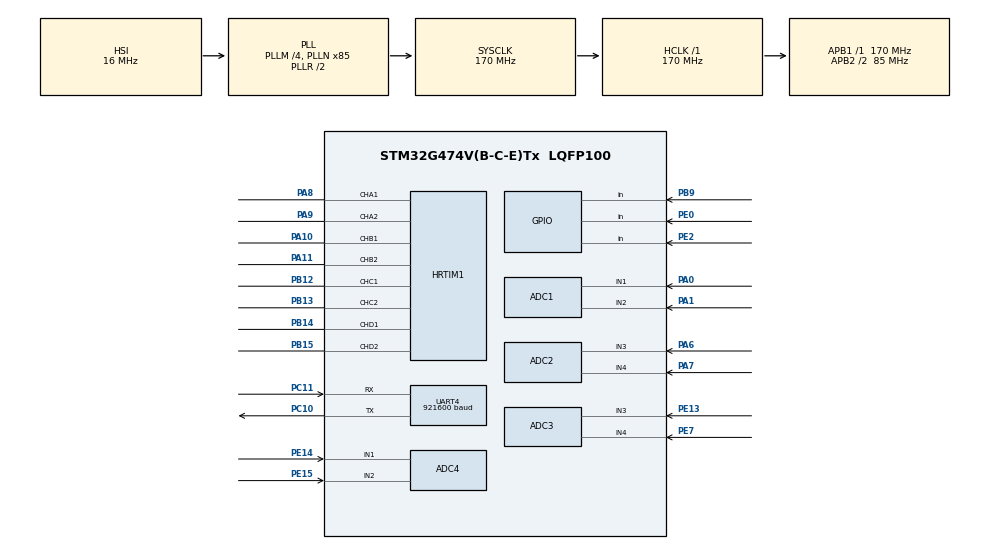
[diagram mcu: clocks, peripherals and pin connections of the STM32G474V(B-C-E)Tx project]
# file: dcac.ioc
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ADC1.Channel-0\#ChannelRegularConversion=ADC_CHANNEL_1
ADC1.ClockPrescaler=ADC_CLOCK_SYNC_PCLK_DIV4
ADC1.DMAAccessModeView=ENABLE
ADC1.DMAContinuousRequests=ENABLE
ADC1.ExternalTrigConv=ADC_EXTERNALTRIG_HRTIM_TRG1
ADC1.ExternalTrigConvEdge=ADC_EXTERNALTRIGCONVEDGE_FALLING
ADC1.Mode=ADC_DUALMODE_REGSIMULT
ADC1.NbrOfConversion=1
ADC1.NbrOfConversionFlag=1
ADC1.OffsetNumber-0\#ChannelRegularConversion=ADC_OFFSET_NONE
ADC1.Overrun=ADC_OVR_DATA_OVERWRITTEN
ADC1.Rank-0\#ChannelRegularConversion=1
ADC1.SamplingTime-0\#ChannelRegularConversion=ADC_SAMPLETIME_2CYCLES_5
ADC1.SingleDiff-0\#ChannelRegularConversion=ADC_DIFFERENTIAL_ENDED
ADC1.master=1
ADC2.Channel-0\#ChannelRegularConversion=ADC_CHANNEL_3
ADC2.ClockPrescaler=ADC_CLOCK_SYNC_PCLK_DIV4
ADC2.DMAAccessModeView=ENABLE
ADC2.Mode=ADC_DUALMODE_REGSIMULT
ADC2.NbrOfConversionFlag=1
ADC2.OffsetNumber-0\#ChannelRegularConversion=ADC_OFFSET_NONE
ADC2.Overrun=ADC_OVR_DATA_OVERWRITTEN
ADC2.Rank-0\#ChannelRegularConversion=1
ADC2.SamplingTime-0\#ChannelRegularConversion=ADC_SAMPLETIME_2CYCLES_5
ADC2.SingleDiff-0\#ChannelRegularConversion=ADC_DIFFERENTIAL_ENDED
ADC3.Channel-0\#ChannelRegularConversion=ADC_CHANNEL_3
ADC3.ClockPrescaler=ADC_CLOCK_SYNC_PCLK_DIV4
ADC3.DMAAccessModeView=ENABLE
ADC3.DMAContinuousRequests=ENABLE
ADC3.ExternalTrigConv=ADC_EXTERNALTRIG_HRTIM_TRG1
ADC3.ExternalTrigConvEdge=ADC_EXTERNALTRIGCONVEDGE_FALLING
ADC3.Mode=ADC_DUALMODE_REGSIMULT
ADC3.NbrOfConversion=1
ADC3.NbrOfConversionFlag=1
ADC3.OffsetNumber-0\#ChannelRegularConversion=ADC_OFFSET_NONE
ADC3.Overrun=ADC_OVR_DATA_OVERWRITTEN
ADC3.Rank-0\#ChannelRegularConversion=1
ADC3.SamplingTime-0\#ChannelRegularConversion=ADC_SAMPLETIME_2CYCLES_5
ADC3.SingleDiff-0\#ChannelRegularConversion=ADC_DIFFERENTIAL_ENDED
ADC3.master=1
ADC4.Channel-0\#ChannelRegularConversion=ADC_CHANNEL_1
ADC4.ClockPrescaler=ADC_CLOCK_SYNC_PCLK_DIV4
ADC4.DMAAccessModeView=ENABLE
ADC4.Mode=ADC_DUALMODE_REGSIMULT
ADC4.NbrOfConversionFlag=1
ADC4.OffsetNumber-0\#ChannelRegularConversion=ADC_OFFSET_NONE
ADC4.Overrun=ADC_OVR_DATA_OVERWRITTEN
ADC4.Rank-0\#ChannelRegularConversion=1
ADC4.SamplingTime-0\#ChannelRegularConversion=ADC_SAMPLETIME_2CYCLES_5
ADC4.SingleDiff-0\#ChannelRegularConversion=ADC_DIFFERENTIAL_ENDED
Dma.ADC1.0.Direction=DMA_PERIPH_TO_MEMORY
Dma.ADC1.0.EventEnable=DISABLE
Dma.ADC1.0.Instance=DMA1_Channel1
Dma.ADC1.0.MemDataAlignment=DMA_MDATAALIGN_WORD
Dma.ADC1.0.MemInc=DMA_MINC_ENABLE
Dma.ADC1.0.Mode=DMA_CIRCULAR
Dma.ADC1.0.PeriphDataAlignment=DMA_PDATAALIGN_WORD
Dma.ADC1.0.PeriphInc=DMA_PINC_DISABLE
Dma.ADC1.0.Polarity=HAL_DMAMUX_REQ_GEN_RISING
Dma.ADC1.0.Priority=DMA_PRIORITY_LOW
Dma.ADC1.0.RequestNumber=1
Dma.ADC1.0.SignalID=NONE
Dma.ADC1.0.SyncEnable=DISABLE
Dma.ADC1.0.SyncPolarity=HAL_DMAMUX_SYNC_NO_EVENT
Dma.ADC1.0.SyncRequestNumber=1
Dma.ADC1.0.SyncSignalID=NONE
Dma.ADC3.1.Direction=DMA_PERIPH_TO_MEMORY
Dma.ADC3.1.EventEnable=DISABLE
Dma.ADC3.1.Instance=DMA1_Channel2
Dma.ADC3.1.MemDataAlignment=DMA_MDATAALIGN_WORD
Dma.ADC3.1.MemInc=DMA_MINC_ENABLE
Dma.ADC3.1.Mode=DMA_CIRCULAR
Dma.ADC3.1.PeriphDataAlignment=DMA_PDATAALIGN_WORD
Dma.ADC3.1.PeriphInc=DMA_PINC_DISABLE
Dma.ADC3.1.Polarity=HAL_DMAMUX_REQ_GEN_RISING
Dma.ADC3.1.Priority=DMA_PRIORITY_LOW
Dma.ADC3.1.RequestNumber=1
Dma.ADC3.1.SignalID=NONE
Dma.ADC3.1.SyncEnable=DISABLE
Dma.ADC3.1.SyncPolarity=HAL_DMAMUX_SYNC_NO_EVENT
Dma.ADC3.1.SyncRequestNumber=1
Dma.ADC3.1.SyncSignalID=NONE
Dma.Request0=ADC1
Dma.Request1=ADC3
HRTIM1.ADCTrigger1_Source1=HRTIM_ADCTRIGGEREVENT13_MASTER_PERIOD
HRTIM1.ADCTrigger_Id1=HRTIM_ADCTRIGGER_1
HRTIM1.Adrom_TA=HRTIM_TIM_ADROM_VALLEY
HRTIM1.Adrom_TB=HRTIM_TIM_ADROM_VALLEY
HRTIM1.Adrom_TC=HRTIM_TIM_ADROM_VALLEY
HRTIM1.Adrom_TD=HRTIM_TIM_ADROM_VALLEY
HRTIM1.Bmrom_TA=HRTIM_TIM_BMROM_VALLEY
HRTIM1.Bmrom_TB=HRTIM_TIM_BMROM_VALLEY
HRTIM1.Bmrom_TC=HRTIM_TIM_BMROM_VALLEY
HRTIM1.Bmrom_TD=HRTIM_TIM_BMROM_VALLEY
HRTIM1.CompareUnit1-MasterTimer=__NULL
HRTIM1.CompareUnit1-Output_TA1TA2=HRTIM_COMPAREUNIT_1
HRTIM1.CompareUnit1-Output_TB1TB2=HRTIM_COMPAREUNIT_1
HRTIM1.CompareUnit1-Output_TC1TC2=HRTIM_COMPAREUNIT_1
HRTIM1.CompareUnit1-Output_TD1TD2=HRTIM_COMPAREUNIT_1
HRTIM1.CompareUnit2-Output_TA1TA2=__NULL
HRTIM1.CompareUnit2-Output_TB1TB2=__NULL
HRTIM1.CompareUnit2-Output_TC1TC2=__NULL
HRTIM1.CompareValue1-Output_TA1TA2=2125
HRTIM1.CompareValue1-Output_TB1TB2=2125
HRTIM1.CompareValue1-Output_TC1TC2=2125
HRTIM1.CompareValue1-Output_TD1TD2=2150
HRTIM1.DeadTimeInsertion-Output_TA1TA2=HRTIM_TIMDEADTIMEINSERTION_ENABLED
HRTIM1.DeadTimeInsertion-Output_TB1TB2=HRTIM_TIMDEADTIMEINSERTION_ENABLED
HRTIM1.DeadTimeInsertion-Output_TC1TC2=HRTIM_TIMDEADTIMEINSERTION_ENABLED
HRTIM1.DeadTimeInsertion-Output_TD1TD2=HRTIM_TIMDEADTIMEINSERTION_ENABLED
HRTIM1.FallingValue-Output_TA1TA2=25
HRTIM1.FallingValue-Output_TB1TB2=0
HRTIM1.FallingValue-Output_TC1TC2=25
HRTIM1.FallingValue-Output_TD1TD2=25
HRTIM1.Ferom_TA=HRTIM_TIM_FEROM_VALLEY
HRTIM1.Ferom_TB=HRTIM_TIM_FEROM_VALLEY
HRTIM1.Ferom_TC=HRTIM_TIM_FEROM_VALLEY
HRTIM1.Ferom_TD=HRTIM_TIM_FEROM_VALLEY
HRTIM1.GreaterCMP1_TA=HRTIM_TIMERGTCMP1_EQUAL
HRTIM1.GreaterCMP1_TB=HRTIM_TIMERGTCMP1_EQUAL
HRTIM1.GreaterCMP1_TC=HRTIM_TIMERGTCMP1_EQUAL
HRTIM1.GreaterCMP1_TD=HRTIM_TIMERGTCMP1_EQUAL
HRTIM1.NumberADCTriggerSource1=1
HRTIM1.NumberInterruptRequests-Output_TA1TA2=0
HRTIM1.NumberInterruptRequests_Master-MasterTimer=0
HRTIM1.NumberResetSource1-Output_TA1TA2=1
HRTIM1.NumberResetSource1-Output_TB1TB2=1
HRTIM1.NumberResetSource1-Output_TC1TC2=1
HRTIM1.NumberResetSource1-Output_TD1TD2=1
HRTIM1.NumberResetTrigger-Output_TA1TA2=0
HRTIM1.NumberResetTrigger-Output_TB1TB2=0
HRTIM1.NumberSetSource1-Output_TA1TA2=1
HRTIM1.NumberSetSource1-Output_TB1TB2=1
HRTIM1.NumberSetSource1-Output_TC1TC2=1
HRTIM1.NumberSetSource1-Output_TD1TD2=1
HRTIM1.NumberUpdateTrigger-Output_TA1TA2=0
HRTIM1.NumberUpdateTrigger-Output_TB1TB2=0
HRTIM1.Outrom_TA=HRTIM_TIM_OUTROM_VALLEY
HRTIM1.Outrom_TB=HRTIM_TIM_OUTROM_VALLEY
HRTIM1.Outrom_TC=HRTIM_TIM_OUTROM_VALLEY
HRTIM1.Outrom_TD=HRTIM_TIM_OUTROM_VALLEY
HRTIM1.Periode_MASTER=8500
HRTIM1.Periode_TA=4250
HRTIM1.Periode_TB=4250
HRTIM1.Periode_TC=4250
HRTIM1.Periode_TD=4250
HRTIM1.PreloadEnable-MasterTimer=HRTIM_PRELOAD_ENABLED
HRTIM1.PreloadEnable-Output_TA1TA2=HRTIM_PRELOAD_ENABLED
HRTIM1.PreloadEnable-Output_TB1TB2=HRTIM_PRELOAD_ENABLED
HRTIM1.PreloadEnable-Output_TC1TC2=HRTIM_PRELOAD_ENABLED
HRTIM1.PreloadEnable-Output_TD1TD2=HRTIM_PRELOAD_ENABLED
HRTIM1.PrescalerDead-Output_TA1TA2=HRTIM_TIMDEADTIME_PRESCALERRATIO_DIV1
HRTIM1.PrescalerDead-Output_TB1TB2=HRTIM_TIMDEADTIME_PRESCALERRATIO_DIV1
HRTIM1.PrescalerDead-Output_TC1TC2=HRTIM_TIMDEADTIME_PRESCALERRATIO_DIV1
HRTIM1.PrescalerDead-Output_TD1TD2=HRTIM_TIMDEADTIME_PRESCALERRATIO_DIV1
HRTIM1.PrescalerRatio_MASTER=HRTIM_PRESCALERRATIO_DIV1
HRTIM1.PrescalerRatio_TA=HRTIM_PRESCALERRATIO_DIV1
HRTIM1.PrescalerRatio_TB=HRTIM_PRESCALERRATIO_DIV1
HRTIM1.PrescalerRatio_TC=HRTIM_PRESCALERRATIO_DIV1
HRTIM1.PrescalerRatio_TD=HRTIM_PRESCALERRATIO_DIV1
HRTIM1.RepetitionCounter-MasterTimer=0
HRTIM1.RepetitionUpdate-MasterTimer=HRTIM_UPDATEONREPETITION_ENABLED
HRTIM1.RepetitionUpdate-Output_TA1TA2=HRTIM_UPDATEONREPETITION_ENABLED
HRTIM1.RepetitionUpdate-Output_TB1TB2=HRTIM_UPDATEONREPETITION_ENABLED
HRTIM1.RepetitionUpdate-Output_TC1TC2=HRTIM_UPDATEONREPETITION_ENABLED
HRTIM1.RepetitionUpdate-Output_TD1TD2=HRTIM_UPDATEONREPETITION_ENABLED
HRTIM1.ResetOutput1_Source1-Output_TA1TA2=HRTIM_OUTPUTRESET_TIMCMP1
HRTIM1.ResetOutput1_Source1-Output_TB1TB2=HRTIM_OUTPUTRESET_TIMCMP1
HRTIM1.ResetOutput1_Source1-Output_TC1TC2=HRTIM_OUTPUTRESET_TIMCMP1
HRTIM1.ResetOutput1_Source1-Output_TD1TD2=HRTIM_OUTPUTRESET_TIMCMP1
HRTIM1.ResetUpdate-Output_TA1TA2=HRTIM_TIMUPDATEONRESET_DISABLED
HRTIM1.ResetUpdate-Output_TB1TB2=HRTIM_TIMUPDATEONRESET_DISABLED
HRTIM1.RisingValue-Output_TA1TA2=0
HRTIM1.RisingValue-Output_TB1TB2=0
HRTIM1.RisingValue-Output_TC1TC2=25
HRTIM1.RisingValue-Output_TD1TD2=25
HRTIM1.SetOutput1_Source1-Output_TA1TA2=HRTIM_OUTPUTSET_NONE
HRTIM1.SetOutput1_Source1-Output_TB1TB2=HRTIM_OUTPUTSET_NONE
HRTIM1.UpDownMode-Output_TA1TA2=HRTIM_TIMERUPDOWNMODE_UPDOWN
HRTIM1.UpDownMode-Output_TB1TB2=HRTIM_TIMERUPDOWNMODE_UPDOWN
HRTIM1.UpDownMode-Output_TC1TC2=HRTIM_TIMERUPDOWNMODE_UPDOWN
HRTIM1.UpDownMode-Output_TD1TD2=HRTIM_TIMERUPDOWNMODE_UPDOWN
HRTIM1.rom_TA=HRTIM_TIM_ROM_VALLEY
HRTIM1.rom_TB=HRTIM_TIM_ROM_VALLEY
HRTIM1.rom_TC=HRTIM_TIM_ROM_VALLEY
HRTIM1.rom_TD=HRTIM_TIM_ROM_VALLEY
Mcu.Family=STM32G4
Mcu.Name=STM32G474V(B-C-E)Tx
Mcu.Package=LQFP100
NVIC.ADC1_2_IRQn=true\:0\:0\:false\:false\:true\:false\:true\:true
NVIC.ADC3_IRQn=true\:0\:0\:false\:false\:true\:false\:true\:true
NVIC.ADC4_IRQn=true\:0\:0\:false\:false\:true\:false\:true\:true
NVIC.DMA1_Channel1_IRQn=true\:0\:0\:false\:false\:true\:false\:true\:true
NVIC.DMA1_Channel2_IRQn=true\:0\:0\:false\:false\:true\:false\:true\:true
NVIC.PriorityGroup=NVIC_PRIORITYGROUP_4
PA0.Mode=IN1-Differential
PA0.Signal=ADC1_IN1
PA1.Mode=IN1-Differential
PA1.Signal=ADC1_IN2
PA10.Mode=Output_TB1TB2
PA10.Signal=HRTIM1_CHB1
PA11.Mode=Output_TB1TB2
PA11.Signal=HRTIM1_CHB2
PA13.Mode=Serial_Wire
PA13.Signal=SYS_JTMS-SWDIO
PA14.Mode=Serial_Wire
PA14.Signal=SYS_JTCK-SWCLK
PA6.Mode=IN3-Differential
PA6.Signal=ADC2_IN3
PA7.Mode=IN3-Differential
PA7.Signal=ADC2_IN4
PA8.Mode=Output_TA1TA2
PA8.Signal=HRTIM1_CHA1
PA9.Mode=Output_TA1TA2
PA9.Signal=HRTIM1_CHA2
PB12.Mode=Output_TC1TC2
PB12.Signal=HRTIM1_CHC1
PB13.Mode=Output_TC1TC2
PB13.Signal=HRTIM1_CHC2
PB14.Mode=Output_TD1TD2
PB14.Signal=HRTIM1_CHD1
PB15.Mode=Output_TD1TD2
PB15.Signal=HRTIM1_CHD2
PB9.GPIO_PuPd=GPIO_PULLUP
PB9.Signal=GPIO_Input
PC10.Mode=Asynchronous
PC10.Signal=UART4_TX
PC11.Mode=Asynchronous
PC11.Signal=UART4_RX
PE0.GPIO_PuPd=GPIO_PULLUP
PE0.Signal=GPIO_Input
PE13.Mode=IN3-Differential
PE13.Signal=ADC3_IN3
PE14.Mode=IN1-Differential
PE14.Signal=ADC4_IN1
PE15.Mode=IN1-Differential
PE15.Signal=ADC4_IN2
PE2.GPIO_PuPd=GPIO_PULLUP
PE2.Signal=GPIO_Input
PE7.Mode=IN3-Differential
PE7.Signal=ADC3_IN4
PF0-OSC_IN.Mode=HSE-External-Oscillator
PF0-OSC_IN.Signal=RCC_OSC_IN
PF1-OSC_OUT.Mode=HSE-External-Oscillator
PF1-OSC_OUT.Signal=RCC_OSC_OUT
ProjectManager.HeapSize=0x200
ProjectManager.StackSize=0x400
ProjectManager.TargetToolchain=MDK-ARM V5.32
RCC.ADC12Freq_Value=170000000
RCC.ADC345Freq_Value=170000000
RCC.AHBFreq_Value=170000000
RCC.APB1Freq_Value=170000000
RCC.APB1TimFreq_Value=170000000
RCC.APB2CLKDivider=RCC_HCLK_DIV2
RCC.APB2Freq_Value=85000000
RCC.APB2TimFreq_Value=170000000
RCC.CortexFreq_Value=170000000
RCC.EXTERNAL_CLOCK_VALUE=12288000
RCC.HCLKFreq_Value=170000000
RCC.HSE_VALUE=25000000
RCC.HSI48_VALUE=48000000
RCC.HSI_VALUE=16000000
RCC.LSE_VALUE=32768
RCC.PLLM=RCC_PLLM_DIV4
RCC.PLLN=85
RCC.PWR_Regulator_Voltage_Scale=PWR_REGULATOR_VOLTAGE_SCALE1_BOOST
RCC.SYSCLKFreq_VALUE=170000000
RCC.SYSCLKSource=RCC_SYSCLKSOURCE_PLLCLK
RCC.USBFreq_Value=170000000
RCC.VCOOutputFreq_Value=340000000
STMicroelectronics.X-CUBE-ALGOBUILD.1.5.0.LibraryCcDSPOoLibraryJjDSPOoLibrary=true
UART4.BaudRate=921600
VP_HRTIM1_VS_hrtimMasterTimerNoOutput.Mode=MasterTimer
VP_STMicroelectronics.X-CUBE-ALGOBUILD_VS_DSPOoLibraryJjLibrary_1.5.0_1.5.0.Mode=DSPOoLibraryJjLibrary
VP_SYS_VS_DBSignals.Mode=DisableDeadBatterySignals
VP_SYS_V_VREFBUF.Mode=ExternalMode
board=custom

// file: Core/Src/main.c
/* USER CODE BEGIN Header */
/**
  ******************************************************************************
  * @file           : main.c
  * @brief          : Main program body
  ******************************************************************************
  * @attention
  *
  * Copyright (c) 2026 STMicroelectronics.
  * All rights reserved.
  *
  * This software is licensed under terms that can be found in the LICENSE file
  * in the root directory of this software component.
  * If no LICENSE file comes with this software, it is provided AS-IS.
  *
  ******************************************************************************
  */
/* USER CODE END Header */
#include "main.h"
#include "adc.h"
#include "dma.h"
#include "hrtim.h"
#include "usart.h"
#include "gpio.h"

/* USER CODE BEGIN Includes */
#include "key.h"
#include "arm_math.h"
#include "qpr_control.h"
#include <string.h>
/* USER CODE END Includes */

/* USER CODE BEGIN PD */
/* DIV1 下，比较值避开计数端点；6 tick 是按 RM0440 p918 例值取的保守余量。 */
#define HRTIM_COMPARE_MARGIN_TICKS  6U
#define SPWM_MODULATION_LIMIT      QPR_MODULATION_LIMIT
#define SPWM_OUTPUT_FREQUENCY_HZ    QPR_FREQUENCY_HZ
/* dcac 的差分 ADC、HRTIM 触发与 UART4 配置。 */
#define ADC_DIFF_ZERO_CODE         2048
#define VOFA_OUTPUT_ENABLE         1U
/* 八通道：20 kHz / 10 = 2000 帧/s，50 Hz 正弦每周期 40 个波形点。
 * 36 字节、8N1 占用 720000 bit/s；UART4 和 VOFA 均设置为 921600 baud。
 * CH8 的 RMS 使用全部 20 kHz 样本，每个 50 Hz 周期更新一次。
 */
#define VOFA_SAMPLE_DIV            10U
/* 1: CH1~6 为400点有符号均值；0: CH1~7为瞬时波形。CH8始终为RMS。 */
#define VOFA_MEAN_OUTPUT_ENABLE    0U
#define VOFA_MEAN_SAMPLE_COUNT     400U
#define VOFA_UART_TIMEOUT_MS       5U

#define VOLTAGE_ZERO_CODE (-3)
#define CURRENT_ZERO_CODE (-8)
/* 辅助电流零偏必须单独实测，不能沿用主机通道的标定结果。 */
#define AUX_CURRENT_ZERO_CODE (-15)
/* 母线零偏单位为换算后的 V；24=(24k+24k)/2k。 */
#define DC_BUS_ZERO_CODE (16)
#define DC_BUS_MIN_CONTROL_V 1.0f

#if VOFA_SAMPLE_DIV < 1U
#error "VOFA_SAMPLE_DIV must be at least 1"
#endif
/* USER CODE END PD */

/* USER CODE BEGIN PV */
uint16_t Period;
/* Keil Watch：默认目标峰值约 33.9411 V，对应 24 Vrms；母线由 ADC3 实测。 */
/* 默认主机开环、从机关断；参考幅值保持原工程设定。 */
/* 1：QPR 闭环；0：正弦开环输出，不是停机/关断栅极。 */
volatile uint8_t voltage_closed_loop_enable = 0U;
volatile float voltage_reference_peak_v = QPR_DEFAULT_REFERENCE_PEAK_V;
volatile uint8_t dc_bus_ready;
volatile uint32_t adc_pair_error_count;
static uint8_t adc12_ready, adc34_ready;
volatile float voltage_reference_v;
/* 展开 qpr_control 可查看两环误差、校正电压、限幅次数和故障位。 */
QPR_Control qpr_control;
/* PB9只控制从机，不重新初始化主机。比例定义为iL从/iL主。 */
QPR_Control slave_qpr_control;
volatile uint8_t slave_enable_request = 0U;
volatile uint8_t slave_enabled = 0U;
volatile uint32_t slave_fault_flags;
volatile float slave_current_ratio = 1.0f;
volatile float slave_ratio_applied;
volatile float slave_dc_bus_voltage_v; /* 初始为0，由ADC3采样更新，单位V。 */
volatile float slave_modulation;
volatile uint32_t slave_update_count;
#define SLAVE_OUTPUTS (HRTIM_OUTPUT_TC1 | HRTIM_OUTPUT_TC2 | HRTIM_OUTPUT_TD1 | HRTIM_OUTPUT_TD2)
#define SLAVE_REFERENCE_LIMIT_A 3.0f
#define SLAVE_OVERCURRENT_A 5.0f
#define SLAVE_RATIO_SLEW_PER_S 1.0f
#define SLAVE_FAULT_ADC 1U
#define SLAVE_FAULT_CURRENT 2U
#define SLAVE_FAULT_CONTROL 4U
#define SLAVE_FAULT_TIMING 8U
volatile float modulation_command;
volatile uint32_t spwm_update_count;
float spwm_update_hz;
static float spwm_phase_rad;
static float phase_step_rad;
/* DMA 每次把 ADC1/ADC2 的 CDR 写入同一个 32 位字；仅在回调开头读一次。 */
volatile float vref_voltage = 3.0f;      /* 外部 VREF+，单位 V */
volatile uint32_t adc12_word;
volatile uint16_t adc_voltage_raw;
volatile uint16_t adc_current_raw;
volatile int16_t adc_voltage_code;
volatile int16_t adc_current_code;
volatile float adc_sample_voltage;       /* 电压采样通道的 ADC 差分电压，V */
volatile float adc_sample_current;       /* 电流采样通道的 ADC 差分电压，V，尚未换算为 A */
volatile float true_voltage;             /* 瞬时电压，V */
volatile float true_current;             /* 滤波电感瞬时电流，A（电容分流之前） */
volatile float voltage_gain = 12.8f;       /* 电压采样通道的增益，V/V */
volatile float cksr6_current_gain = 2.400384f;   /* 电流采样通道的增益，A/V */
volatile uint32_t adc_sample_count;      /* ADC1 DMA 完成回调次数 */
/* ADC3/4 CDR：低16位为母线， 高16位为辅助电流。 */
volatile uint32_t adc34_word;
volatile uint16_t adc_bus_voltage_raw;
volatile uint16_t adc_aux_current_raw;
volatile int16_t adc_bus_voltage_code;
volatile int16_t adc_aux_current_code;
volatile float adc_sample_bus_voltage;
volatile float adc_sample_aux_current;   /* 去中点、减零偏后的ADC差分电压，V */
volatile float dc_bus_voltage_v; /* 本拍实测母线电压，V */
volatile float true_aux_current;         /* 辅助逆变器电感瞬时电流，A */
/* 暂按与主机相同的CKSR6链路换算，实际比例/极性需独立标定。 */
volatile float dc_bus_voltage_gain = 24.18717f;
volatile float aux_current_gain = 2.400384f;
volatile uint32_t adc4_sample_count;
volatile uint32_t adc4_error_count;

#if VOFA_OUTPUT_ENABLE
/* 单槽邮箱：CH1~7保留原定义；CH8为最近一个完整周期的电压RMS。 */
volatile float vofa_ch1;
volatile float vofa_ch2;
volatile float vofa_ch3;
volatile float vofa_ch4;
volatile float vofa_ch5;
volatile float vofa_ch6;
volatile float vofa_ch7;
volatile float vofa_ch8;
/* 仅用于观测，不反馈给QPR。这里的RMS是采样带宽内的有效值。
 * RMS=sqrt(sum(u[k]^2)/N)，保留采样信号的直流分量及谐波。
 * AC_RMS=sqrt(RMS^2-mean^2)供Watch对照交流档；互感器看不到实际输出DC。
 * 20 kHz/50 Hz时N=400；每拍平方累加，一周期才开方，避免串口抽点偏差。
 */
volatile float output_voltage_rms_v;
volatile float output_voltage_mean_v;
volatile float output_voltage_ac_rms_v;
volatile uint8_t output_voltage_rms_valid; /* 首个完整窗口之前及模式切换后为0。 */
volatile uint32_t output_voltage_rms_window_count;
uint32_t output_voltage_rms_window_samples;
static float voltage_rms_square_sum;
static float voltage_rms_sum;
static float voltage_rms_mean_scale;
static uint32_t voltage_rms_count;
static uint8_t voltage_rms_mode;
/* 均值窗口只由 ADC ISR 访问，单精度累加使用 M4F 硬件浮点。 */
static float vofa_mean_sum[6];
static uint32_t vofa_mean_count;
static uint8_t vofa_mean_mode;
volatile uint32_t vofa_mean_window_count;
volatile uint8_t vofa_frame_ready;
volatile uint32_t adc_sample_div_count;
volatile uint32_t vofa_sent_count;        /* HAL 返回成功的完整帧数 */
volatile uint32_t vofa_tx_error_count;    /* HAL 超时、忙或错误的累计次数 */
volatile uint32_t vofa_overwrite_count;   /* 主循环未取走就被新采样覆盖的帧数 */
static uint8_t vofa_frame[36];  /* 八个 float（32 字节）+ JustFloat 帧尾（4 字节）。 */
typedef char VofaRequires32BitFloat[(sizeof(float) == 4U) ? 1 : -1];
#endif
/* USER CODE END PV */

void SystemClock_Config(void);

/* USER CODE BEGIN 0 */
/*
 * 对应 singlephase/单极倍频调制：
 * dA=(1+m)/2，dB=(1-m)/2。
 * HRTIM 使用 EQUAL + Reset CMP1：上数清零、下数置位，与 TIM1 PWM1 一致。
 * A/B 的 ROM_VALLEY + REP=0 使两路预装载值在每个谷底一起生效。
 */
static void HRTIM_SetModulation(float modulation)
{
    uint32_t compare_a;
    uint32_t compare_b;
    uint32_t maximum = (uint32_t)Period - HRTIM_COMPARE_MARGIN_TICKS;

    if (modulation > SPWM_MODULATION_LIMIT) modulation = SPWM_MODULATION_LIMIT;
    if (modulation < -SPWM_MODULATION_LIMIT) modulation = -SPWM_MODULATION_LIMIT;

    compare_a = (uint32_t)(0.5f * (1.0f + modulation) * (float)Period + 0.5f);
    compare_b = (uint32_t)(0.5f * (1.0f - modulation) * (float)Period + 0.5f);
    if (compare_a < HRTIM_COMPARE_MARGIN_TICKS) compare_a = HRTIM_COMPARE_MARGIN_TICKS;
    if (compare_b < HRTIM_COMPARE_MARGIN_TICKS) compare_b = HRTIM_COMPARE_MARGIN_TICKS;
    if (compare_a > maximum) compare_a = maximum;
    if (compare_b > maximum) compare_b = maximum;

    __HAL_HRTIM_SETCOMPARE(&hhrtim1, HRTIM_TIMERINDEX_TIMER_A, HRTIM_COMPAREUNIT_1, compare_a);
    __HAL_HRTIM_SETCOMPARE(&hhrtim1, HRTIM_TIMERINDEX_TIMER_B, HRTIM_COMPAREUNIT_1, compare_b);
    modulation_command = modulation;
}

/* C/D与A/B相同的单极倍频调制，只有本函数写从机比较值。 */
static void HRTIM_SetSlaveModulation(float modulation)
{
    uint32_t c, d;
    uint32_t maximum = (uint32_t)Period - HRTIM_COMPARE_MARGIN_TICKS;
    if (modulation > SPWM_MODULATION_LIMIT) modulation = SPWM_MODULATION_LIMIT;
    if (modulation < -SPWM_MODULATION_LIMIT) modulation = -SPWM_MODULATION_LIMIT;
    c = (uint32_t)(0.5f * (1.0f + modulation) * Period + 0.5f);
    d = (uint32_t)(0.5f * (1.0f - modulation) * Period + 0.5f);
    if (c < HRTIM_COMPARE_MARGIN_TICKS) c = HRTIM_COMPARE_MARGIN_TICKS;
    if (d < HRTIM_COMPARE_MARGIN_TICKS) d = HRTIM_COMPARE_MARGIN_TICKS;
    if (c > maximum) c = maximum;
    if (d > maximum) d = maximum;
    __HAL_HRTIM_SETCOMPARE(&hhrtim1, HRTIM_TIMERINDEX_TIMER_C, HRTIM_COMPAREUNIT_1, c);
    __HAL_HRTIM_SETCOMPARE(&hhrtim1, HRTIM_TIMERINDEX_TIMER_D, HRTIM_COMPAREUNIT_1, d);
    slave_modulation = modulation;
}

/* 关断是禁用四个栅极PWM，不是m=0的50%发波；不操作A/B。 */
static void Slave_Stop(uint32_t fault)
{
    HRTIM1->sCommonRegs.ODISR = SLAVE_OUTPUTS;
    slave_enabled = 0U;
    slave_enable_request = 0U;
    slave_fault_flags |= fault;
    slave_modulation = 0.0f;
}

/* 两组样本配齐并完成主机控制后执行；故障锁存后重启才能再接入。 */
static void Slave_ControlUpdate(void)
{
    float reference, modulation, ratio, master_current, output_voltage;
    uint32_t primask, sample_sequence;
    if ((voltage_closed_loop_enable == 0U) || (slave_enable_request == 0U))
    {
        Slave_Stop(0U);
        return;
    }
    if (slave_fault_flags != 0U) { Slave_Stop(0U); return; }
    /* 两组从同一触发启动；只有ADC1已发布本拍反馈才运行从机。 */
    primask = __get_PRIMASK();
    __disable_irq();
    sample_sequence = adc_sample_count;
    master_current = true_current;
    output_voltage = true_voltage;
    __set_PRIMASK(primask);
    if (sample_sequence != adc4_sample_count)
    {
        Slave_Stop(SLAVE_FAULT_TIMING);
        return;
    }
    if ((true_aux_current > SLAVE_OVERCURRENT_A) ||
        (true_aux_current < -SLAVE_OVERCURRENT_A))
    {
        Slave_Stop(SLAVE_FAULT_CURRENT);
        return;
    }
    ratio = slave_current_ratio;
    if (!(ratio >= 0.0f && ratio <= 2.0f))
    {
        Slave_Stop(SLAVE_FAULT_CONTROL);
        return;
    }
    if (slave_enabled == 0U)
    {
        /* 在参考电压过零附近接入，避免任意相位直接开启第一脉冲。 */
        if (!(voltage_reference_v >= -2.0f && voltage_reference_v <= 2.0f)) return;
        QPR_ControlReset(&slave_qpr_control);
        slave_ratio_applied = 0.0f;
    }
    if (slave_ratio_applied < ratio)
    {
        slave_ratio_applied += SLAVE_RATIO_SLEW_PER_S * slave_qpr_control.sample_period_s;
        if (slave_ratio_applied > ratio) slave_ratio_applied = ratio;
    }
    else if (slave_ratio_applied > ratio)
    {
        slave_ratio_applied -= SLAVE_RATIO_SLEW_PER_S * slave_qpr_control.sample_period_s;
        if (slave_ratio_applied < ratio) slave_ratio_applied = ratio;
    }
    /* 直接跟随本拍主机实测电感电流，不额外增加参考路径的滤波延迟。 */
    reference = slave_ratio_applied * master_current;
    if (reference > SLAVE_REFERENCE_LIMIT_A) reference = SLAVE_REFERENCE_LIMIT_A;
    if (reference < -SLAVE_REFERENCE_LIMIT_A) reference = -SLAVE_REFERENCE_LIMIT_A;
    modulation = QPR_CurrentStep(&slave_qpr_control, reference, true_aux_current,
                                 output_voltage, slave_dc_bus_voltage_v);
    if (slave_qpr_control.fault_flags != QPR_FAULT_NONE)
    {
        Slave_Stop(SLAVE_FAULT_CONTROL);
        return;
    }
    /* 短临界区保护从机输出接入。 */
    primask = __get_PRIMASK();
    __disable_irq();
    if (adc_sample_count != sample_sequence)
    {
        Slave_Stop(SLAVE_FAULT_TIMING);
        __set_PRIMASK(primask);
        return;
    }
    if ((voltage_closed_loop_enable != 0U) && (slave_enable_request != 0U) &&
        (slave_fault_flags == 0U))
    {
        HRTIM_SetSlaveModulation(modulation);
        if (slave_enabled == 0U)
        {
            /* 首次只更新C/D，绝不软件更新主机A/B的预装载值。 */
            if (HAL_HRTIM_SoftwareUpdate(&hhrtim1, HRTIM_TIMERUPDATE_C | HRTIM_TIMERUPDATE_D) != HAL_OK)
            {
                Slave_Stop(SLAVE_FAULT_CONTROL);
            }
            else
            {
                if ((HAL_HRTIM_WaveformSetOutputLevel(&hhrtim1, HRTIM_TIMERINDEX_TIMER_C,
                      HRTIM_OUTPUT_TC1, HRTIM_OUTPUTLEVEL_ACTIVE) != HAL_OK) ||
                    (HAL_HRTIM_WaveformSetOutputLevel(&hhrtim1, HRTIM_TIMERINDEX_TIMER_D,
                      HRTIM_OUTPUT_TD1, HRTIM_OUTPUTLEVEL_ACTIVE) != HAL_OK))
                    Slave_Stop(SLAVE_FAULT_CONTROL);
                else
                {
                    HRTIM1->sCommonRegs.OENR = SLAVE_OUTPUTS;
                    slave_enabled = 1U;
                }
            }
        }
        slave_update_count++;
    }
    __set_PRIMASK(primask);
}

static void HRTIM_SPWM_Init(void)
{
    uint32_t master_period;
    uint32_t hrtim_clock_hz;

    Period = (uint16_t)__HAL_HRTIM_GETPERIOD(&hhrtim1, HRTIM_TIMERINDEX_TIMER_A);
    master_period = __HAL_HRTIM_GETPERIOD(&hhrtim1, HRTIM_TIMERINDEX_MASTER);
    /* 单更新：M/A/B 同为 DIV1、REP=0；Master 向上计数，PER 必须是 A/B 的两倍。 */
    if ((Period <= 2U * HRTIM_COMPARE_MARGIN_TICKS) ||
        (master_period != 2U * (uint32_t)Period) ||
        (__HAL_HRTIM_GETPERIOD(&hhrtim1, HRTIM_TIMERINDEX_TIMER_B) != Period) ||
        ((HRTIM1->sMasterRegs.MCR & HRTIM_MCR_CK_PSC) != HRTIM_PRESCALERRATIO_DIV1) ||
        ((HRTIM1->sTimerxRegs[HRTIM_TIMERINDEX_TIMER_A].TIMxCR & HRTIM_TIMCR_CK_PSC) != HRTIM_PRESCALERRATIO_DIV1) ||
        ((HRTIM1->sTimerxRegs[HRTIM_TIMERINDEX_TIMER_B].TIMxCR & HRTIM_TIMCR_CK_PSC) != HRTIM_PRESCALERRATIO_DIV1) ||
        (HRTIM1->sMasterRegs.MREP != 0U))
    {
        Error_Handler();
    }

    /* HRTIM 内核时钟来源见 RM0440 Figure 17；当前为 170 MHz。 */
    hrtim_clock_hz = HAL_RCC_GetPCLK2Freq();
    if ((RCC->CFGR & RCC_CFGR_PPRE2) != 0U) hrtim_clock_hz *= 2U;
    spwm_update_hz = (float)hrtim_clock_hz / (float)master_period;
    phase_step_rad = 2.0f * PI * SPWM_OUTPUT_FREQUENCY_HZ / spwm_update_hz;
    spwm_phase_rad = 0.0f;
    spwm_update_count = 0U;
    if (QPR_ControlInit(&qpr_control, spwm_update_hz) == 0U)
    {
        Error_Handler();
    }
#if VOFA_OUTPUT_ENABLE
    /* 按实际控制频率取一基波周期的点数，不依赖VOFA抽点倍数。 */
    output_voltage_rms_window_samples =
        (uint32_t)(spwm_update_hz / SPWM_OUTPUT_FREQUENCY_HZ + 0.5f);
    voltage_rms_mean_scale = 1.0f / (float)output_voltage_rms_window_samples;
#endif

    if ((__HAL_HRTIM_GETPERIOD(&hhrtim1, HRTIM_TIMERINDEX_TIMER_C) != Period) ||
        (__HAL_HRTIM_GETPERIOD(&hhrtim1, HRTIM_TIMERINDEX_TIMER_D) != Period) ||
        ((HRTIM1->sTimerxRegs[HRTIM_TIMERINDEX_TIMER_C].TIMxCR & HRTIM_TIMCR_CK_PSC) != HRTIM_PRESCALERRATIO_DIV1) ||
        ((HRTIM1->sTimerxRegs[HRTIM_TIMERINDEX_TIMER_D].TIMxCR & HRTIM_TIMCR_CK_PSC) != HRTIM_PRESCALERRATIO_DIV1)) Error_Handler();
    if (QPR_ControlInit(&slave_qpr_control, spwm_update_hz) == 0U) Error_Handler();
    Slave_Stop(0U);
    HRTIM_SetSlaveModulation(0.0f);
    if (HAL_HRTIM_SoftwareUpdate(&hhrtim1, HRTIM_TIMERUPDATE_C | HRTIM_TIMERUPDATE_D) != HAL_OK) Error_Handler();
    /* 两桥臂先装载相同的 50% */
    HRTIM_SetModulation(0.0f);
    if (HAL_HRTIM_SoftwareUpdate(&hhrtim1, HRTIM_TIMERUPDATE_MASTER |
                                HRTIM_TIMERUPDATE_A | HRTIM_TIMERUPDATE_B) != HAL_OK)
    {
        Error_Handler();
    }

    /* RM0440 p954：进入 RUN 前预置谷部高电平；x2 由死区单元生成互补。 */
    if (HAL_HRTIM_WaveformSetOutputLevel(&hhrtim1, HRTIM_TIMERINDEX_TIMER_A,
                                       HRTIM_OUTPUT_TA1, HRTIM_OUTPUTLEVEL_ACTIVE) != HAL_OK)
    {
        Error_Handler();
    }
    if (HAL_HRTIM_WaveformSetOutputLevel(&hhrtim1, HRTIM_TIMERINDEX_TIMER_B,
                                       HRTIM_OUTPUT_TB1, HRTIM_OUTPUTLEVEL_ACTIVE) != HAL_OK)
    {
        Error_Handler();
    }

    __HAL_HRTIM_MASTER_CLEAR_FLAG(&hhrtim1, HRTIM_MASTER_FLAG_MREP);
    /* 先启动采样；第一组有效母线样本到齐后才开启 A/B 栅极。 */
    /* M/A/B/C/D计数器均为0，一次MCR写入同步启动；C/D输出仍禁用。
     * 不使用“未开计数器时的软件复位”：RM0440 p895 说明此时复位请求无效。
     */
    if (HAL_HRTIM_WaveformCountStart_IT(&hhrtim1, HRTIM_TIMERID_MASTER |
                                      HRTIM_TIMERID_TIMER_A | HRTIM_TIMERID_TIMER_B |
                                      HRTIM_TIMERID_TIMER_C | HRTIM_TIMERID_TIMER_D) != HAL_OK)
    {
        Error_Handler();
    }
}
/* 差分原始码以 2048 为零点；先去中点，再减零偏，最后换算物理量。 */
static int16_t ADC_DiffRawToSigned(uint16_t raw)
{
    return (int16_t)((int32_t)(raw & 0x0FFFU) - ADC_DIFF_ZERO_CODE);
}

static void ADC_Sampling_Init(void)
{
    /* 必须在 HRTIM 启动周期触发之前校准并挂好 DMA。 */
    if (HAL_ADCEx_Calibration_Start(&hadc1, ADC_DIFFERENTIAL_ENDED) != HAL_OK)
    {
        Error_Handler();
    }
    if (HAL_ADCEx_Calibration_Start(&hadc2, ADC_DIFFERENTIAL_ENDED) != HAL_OK)
    {
        Error_Handler();
    }
    if (HAL_ADCEx_Calibration_Start(&hadc3, ADC_DIFFERENTIAL_ENDED) != HAL_OK)
    {
        Error_Handler();
    }
    if (HAL_ADCEx_Calibration_Start(&hadc4, ADC_DIFFERENTIAL_ENDED) != HAL_OK)
    {
        Error_Handler();
    }

    /* 当前 HAL 的此 API 会同时使能主、从 ADC；不单独启动 ADC2 的 DMA。 */
    if (HAL_ADCEx_MultiModeStart_DMA(&hadc1, (uint32_t *)&adc12_word, 1U) != HAL_OK)
    {
        Error_Handler();
    }
    /* 一个 32 位字没有需要处理的半缓冲，保留 TC/TE，关闭无用的 HT 中断。 */
    __HAL_DMA_DISABLE_IT(hadc1.DMA_Handle, DMA_IT_HT);
    /* 两组主ADC同时等待HRTIM_TRG1下降沿，ADC4只由ADC3硬件带动。 */
    if (HAL_ADCEx_MultiModeStart_DMA(&hadc3, (uint32_t *)&adc34_word, 1U) != HAL_OK)
    {
        Error_Handler();
    }
    __HAL_DMA_DISABLE_IT(hadc3.DMA_Handle, DMA_IT_HT);
    /* 双模式的从ADC同样监测溢出，避免DMA中断延迟时静默丢样本。 */
    __HAL_ADC_CLEAR_FLAG(&hadc2, ADC_FLAG_OVR);
    __HAL_ADC_CLEAR_FLAG(&hadc4, ADC_FLAG_OVR);
    __HAL_ADC_ENABLE_IT(&hadc2, ADC_IT_OVR);
    __HAL_ADC_ENABLE_IT(&hadc4, ADC_IT_OVR);
}

#if VOFA_OUTPUT_ENABLE
/* 在两组ADC样本配齐后、VOFA抽点之前调用，开环/闭环均可观测。
 * 模式切换时丢弃半个旧窗口；0表示尚未完成新窗口，约20ms后有效。
 */
static void VOFA_AccumulateVoltageRms(uint8_t closed_loop)
{
    float mean_square;
    float ac_mean_square;
    float rms_v;
    float ac_rms_v;
    const float voltage_v = true_voltage;

    if (closed_loop != voltage_rms_mode)
    {
        voltage_rms_square_sum = 0.0f;
        voltage_rms_sum = 0.0f;
        voltage_rms_count = 0U;
        voltage_rms_mode = closed_loop;
        output_voltage_rms_v = 0.0f;
        output_voltage_mean_v = 0.0f;
        output_voltage_ac_rms_v = 0.0f;
        output_voltage_rms_valid = 0U;
    }
    voltage_rms_square_sum += voltage_v * voltage_v;
    voltage_rms_sum += voltage_v;
    voltage_rms_count++;
    if (voltage_rms_count < output_voltage_rms_window_samples) return;

    mean_square = voltage_rms_square_sum * voltage_rms_mean_scale;
    output_voltage_mean_v = voltage_rms_sum * voltage_rms_mean_scale;
    (void)arm_sqrt_f32(mean_square, &rms_v);
    output_voltage_rms_v = rms_v;
    ac_mean_square = mean_square - output_voltage_mean_v * output_voltage_mean_v;
    if (ac_mean_square < 0.0f) ac_mean_square = 0.0f; /* 消除浮点舍入造成的微小负数。 */
    (void)arm_sqrt_f32(ac_mean_square, &ac_rms_v);
    output_voltage_ac_rms_v = ac_rms_v;
    voltage_rms_square_sum = 0.0f;
    voltage_rms_sum = 0.0f;
    voltage_rms_count = 0U;
    output_voltage_rms_window_count++;
    output_voltage_rms_valid = 1U;
}

/* 每拍调用；完成窗口时一次发布六个结果。不是 RMS，也不是抽点平均。
 * 固定 400 点在当前 20 kHz/50 Hz 配置下对应一个基波周期。
 */
static void VOFA_AccumulateMean(uint8_t closed_loop)
{
    uint32_t i;
    const float scale = 1.0f / (float)VOFA_MEAN_SAMPLE_COUNT;

    if (closed_loop != vofa_mean_mode)
    {
        for (i = 0U; i < 6U; ++i) vofa_mean_sum[i] = 0.0f;
        vofa_mean_count = 0U;
        vofa_mean_mode = closed_loop;
        vofa_frame_ready = 0U; /* 丢弃尚未取走的旧模式结果。 */
    }
    /* 开环时 control.voltage_error_v 被清零，因此用同拍参考重新求误差。 */
    vofa_mean_sum[0] += qpr_control.reference_v - true_voltage;
    vofa_mean_sum[1] += qpr_control.current_reference_a;
    vofa_mean_sum[2] += true_current;
    vofa_mean_sum[3] += qpr_control.resonant_r;
    vofa_mean_sum[4] += qpr_control.qpr_unlimited_v;
    vofa_mean_sum[5] += dc_bus_voltage_v;
    vofa_mean_count++;
    if (vofa_mean_count < VOFA_MEAN_SAMPLE_COUNT) return;

    if (vofa_frame_ready != 0U) vofa_overwrite_count++;
    vofa_ch1 = vofa_mean_sum[0] * scale; /* 平均电压误差，V */
    vofa_ch2 = vofa_mean_sum[1] * scale; /* 平均电流参考，A */
    vofa_ch3 = vofa_mean_sum[2] * scale; /* 平均实测电流，A */
    vofa_ch4 = vofa_mean_sum[3] * scale; /* 平均谐振项，V */
    vofa_ch5 = vofa_mean_sum[4] * scale; /* 平均未限幅 QPR 输出，V */
    vofa_ch6 = vofa_mean_sum[5] * scale; /* CH6：平均实测母线电压，V */
    /* CH7始终为最近一次完成的辅助电流样本，不随CH1~6切换为均值。 */
    vofa_ch7 = true_aux_current;
    vofa_ch8 = output_voltage_rms_v; /* CH8不随CH1~6切换为均值。 */
    for (i = 0U; i < 6U; ++i) vofa_mean_sum[i] = 0.0f;
    vofa_mean_count = 0U;
    vofa_mean_window_count++;
    vofa_frame_ready = 1U;
}

static void VOFA_SendJustFloat(float ch1, float ch2, float ch3, float ch4, float ch5, float ch6, float ch7, float ch8)
{
    HAL_StatusTypeDef status;

    memcpy(&vofa_frame[0], &ch1, sizeof(ch1));
    memcpy(&vofa_frame[4], &ch2, sizeof(ch2));
    memcpy(&vofa_frame[8], &ch3, sizeof(ch3));
    memcpy(&vofa_frame[12], &ch4, sizeof(ch4));
    memcpy(&vofa_frame[16], &ch5, sizeof(ch5));
    memcpy(&vofa_frame[20], &ch6, sizeof(ch6));
    memcpy(&vofa_frame[24], &ch7, sizeof(ch7));
    memcpy(&vofa_frame[28], &ch8, sizeof(ch8));
    vofa_frame[32] = 0x00U;
    vofa_frame[33] = 0x00U;
    vofa_frame[34] = 0x80U;
    vofa_frame[35] = 0x7FU;

    /* 主循环轮询发送，等待期间允许 HRTIM/ADC 中断继续运行。
     * 921600 下 36 字节在线时间约 0.391 ms，小于 0.5 ms 采样间隔。
     * 中断抢占会延长实际发送时间；仍保留 5 ms 超时及丢帧计数用于诊断。
     */
    status = HAL_UART_Transmit(&huart4, vofa_frame,
                               (uint16_t)sizeof(vofa_frame), VOFA_UART_TIMEOUT_MS);
    if (status == HAL_OK)
    {
        vofa_sent_count++;
    }
    else
    {
        /* 丢弃失败帧，不阻塞重试；下一帧继续发送最新数据。 */
        vofa_tx_error_count++;
    }
}

static void VOFA_Process(void)
{
    uint32_t primask;
    float ch1;
    float ch2;
    float ch3;
    float ch4;
    float ch5;
    float ch6;
    float ch7;
    float ch8;

    if (vofa_frame_ready == 0U)
    {
        return;
    }

    /* 一次取走完整八通道快照；保留调用前的中断屏蔽状态。 */
    primask = __get_PRIMASK();
    __disable_irq();
    ch1 = vofa_ch1;
    ch2 = vofa_ch2;
    ch3 = vofa_ch3;
    ch4 = vofa_ch4;
    ch5 = vofa_ch5;
    ch6 = vofa_ch6;
    ch7 = vofa_ch7;
    ch8 = vofa_ch8;

    vofa_frame_ready = 0U;
    __set_PRIMASK(primask);

    VOFA_SendJustFloat(ch1, ch2, ch3, ch4, ch5, ch6, ch7, ch8);
}
#endif
/* USER CODE END 0 */

int main(void)
{

  /* USER CODE BEGIN 1 */
  uint8_t key_number;

  /* USER CODE END 1 */

  /* MCU Configuration--------------------------------------------------------*/

  /* Reset of all peripherals, Initializes the Flash interface and the Systick. */
  HAL_Init();

  /* Configure the system clock */
  SystemClock_Config();

  /* Initialize all configured peripherals */
  MX_GPIO_Init();
  MX_DMA_Init();
  MX_HRTIM1_Init();
  MX_ADC1_Init();
  MX_ADC2_Init();
  MX_UART4_Init();
  MX_ADC3_Init();
  MX_ADC4_Init();
  /* USER CODE BEGIN 2 */
  Key_Init();
  ADC_Sampling_Init();
  HRTIM_SPWM_Init();
  /* USER CODE END 2 */

  /* Infinite loop */
  while (1)
  {

    /* USER CODE BEGIN 3 */
    key_number = Key();
    if (key_number == 1U)
    {
        /* 每次有效松手切换一次；ADC 回调在下一控制拍应用新模式。 */
        voltage_closed_loop_enable = (voltage_closed_loop_enable == 0U) ? 1U : 0U;
        if (voltage_closed_loop_enable == 0U) Slave_Stop(0U);
    }
    else if (key_number == 2U)
    {
        /* PB9松手：只在主机闭环时切换从机接入；开环时按键不排队。 */
        if (voltage_closed_loop_enable != 0U)
        {
            if (slave_enable_request != 0U) Slave_Stop(0U);
            else if (slave_fault_flags == 0U) slave_enable_request = 1U;
        }
    }
#if VOFA_OUTPUT_ENABLE
    VOFA_Process();
#endif
  }
  /* USER CODE END 3 */
}

void SystemClock_Config(void)
{
  RCC_OscInitTypeDef RCC_OscInitStruct = {0};
  RCC_ClkInitTypeDef RCC_ClkInitStruct = {0};

  /** Configure the main internal regulator output voltage
  */
  HAL_PWREx_ControlVoltageScaling(PWR_REGULATOR_VOLTAGE_SCALE1_BOOST);

  /** Initializes the RCC Oscillators according to the specified parameters
  * in the RCC_OscInitTypeDef structure.
  */
  RCC_OscInitStruct.OscillatorType = RCC_OSCILLATORTYPE_HSI;
  RCC_OscInitStruct.HSIState = RCC_HSI_ON;
  RCC_OscInitStruct.HSICalibrationValue = RCC_HSICALIBRATION_DEFAULT;
  RCC_OscInitStruct.PLL.PLLState = RCC_PLL_ON;
  RCC_OscInitStruct.PLL.PLLSource = RCC_PLLSOURCE_HSI;
  RCC_OscInitStruct.PLL.PLLM = RCC_PLLM_DIV4;
  RCC_OscInitStruct.PLL.PLLN = 85;
  RCC_OscInitStruct.PLL.PLLP = RCC_PLLP_DIV2;
  RCC_OscInitStruct.PLL.PLLQ = RCC_PLLQ_DIV2;
  RCC_OscInitStruct.PLL.PLLR = RCC_PLLR_DIV2;
  if (HAL_RCC_OscConfig(&RCC_OscInitStruct) != HAL_OK)
  {
    Error_Handler();
  }

  /** Initializes the CPU, AHB and APB buses clocks
  */
  RCC_ClkInitStruct.ClockType = RCC_CLOCKTYPE_HCLK|RCC_CLOCKTYPE_SYSCLK
                              |RCC_CLOCKTYPE_PCLK1|RCC_CLOCKTYPE_PCLK2;
  RCC_ClkInitStruct.SYSCLKSource = RCC_SYSCLKSOURCE_PLLCLK;
  RCC_ClkInitStruct.AHBCLKDivider = RCC_SYSCLK_DIV1;
  RCC_ClkInitStruct.APB1CLKDivider = RCC_HCLK_DIV1;
  RCC_ClkInitStruct.APB2CLKDivider = RCC_HCLK_DIV2;

  if (HAL_RCC_ClockConfig(&RCC_ClkInitStruct, FLASH_LATENCY_4) != HAL_OK)
  {
    Error_Handler();
  }
}

/* USER CODE BEGIN 4 */
void HAL_ADC_ConvCpltCallback(ADC_HandleTypeDef *hadc)
{
    uint32_t sample;
    float modulation;
    uint8_t closed_loop;

    /* 两个DMA同抢占优先级，回调不能彼此打断。先来的只发布快照，
     * 后来的运行一次控制；不轮询等待，也不使用上一拍母线。
     * 同一组连续完成两次而另一组未到，禁止继续配对并关断全部输出。
     */
    if (hadc->Instance == ADC3)
    {
        if (adc34_ready != 0U) { adc_pair_error_count++; Error_Handler(); return; }
        sample = adc34_word;
        adc_bus_voltage_raw = (uint16_t)(sample & 0x0FFFU);
        adc_aux_current_raw = (uint16_t)((sample >> 16) & 0x0FFFU);
        adc_bus_voltage_code = ADC_DiffRawToSigned(adc_bus_voltage_raw)- DC_BUS_ZERO_CODE;
        adc_sample_bus_voltage = (adc_bus_voltage_code / 2048.0f) * vref_voltage;
        dc_bus_voltage_v = adc_sample_bus_voltage * dc_bus_voltage_gain ;
        /* 两台逆变器共用这条直流母线。 */
        slave_dc_bus_voltage_v = dc_bus_voltage_v;
        adc_aux_current_code = ADC_DiffRawToSigned(adc_aux_current_raw)- AUX_CURRENT_ZERO_CODE;
        adc_sample_aux_current = (adc_aux_current_code / 2048.0f) * vref_voltage;
        true_aux_current = adc_sample_aux_current * aux_current_gain;
        adc4_sample_count++;
        adc34_ready = 1U;
    }
    else if (hadc->Instance == ADC1)
    {
        if (adc12_ready != 0U) { adc_pair_error_count++; Error_Handler(); return; }
        sample = adc12_word;
        adc_voltage_raw = (uint16_t)(sample & 0x0FFFU);
        adc_current_raw = (uint16_t)((sample >> 16) & 0x0FFFU);
        adc_voltage_code = ADC_DiffRawToSigned(adc_voltage_raw)- VOLTAGE_ZERO_CODE;
        adc_current_code = ADC_DiffRawToSigned(adc_current_raw)- CURRENT_ZERO_CODE;
        adc_sample_voltage = -(adc_voltage_code / 2048.0f) * vref_voltage;
        adc_sample_current = (adc_current_code / 2048.0f) * vref_voltage;
        true_voltage = adc_sample_voltage * voltage_gain;
        true_current = adc_sample_current * cksr6_current_gain;
        adc_sample_count++;
        adc12_ready = 1U;
    }
    else return;
    if ((adc12_ready == 0U) || (adc34_ready == 0U)) return;
    adc12_ready = 0U;
    adc34_ready = 0U;
    if (adc_sample_count != adc4_sample_count)
    {
        adc_pair_error_count++;
        Error_Handler();
        return;
    }

    /* Master 向上计数：170 MHz/8500=20 kHz；A/B完整三角波=20 kHz。
     * ISR 写下一拍的预装载值，下一谷底装载；每个50 Hz周期约400次更新。
     */
    closed_loop = (voltage_closed_loop_enable != 0U) ? 1U : 0U;
    /* 母线尚未上电时继续遥测，但不把0V送入除法或开启栅极。
     * 低于1V时重置两环；母线恢复后主机从零幅值重新斜坡。
     */
    if (!(dc_bus_voltage_v >= DC_BUS_MIN_CONTROL_V))
    {
        HRTIM1->sCommonRegs.ODISR = HRTIM_OUTPUT_TA1 | HRTIM_OUTPUT_TA2 |
                                  HRTIM_OUTPUT_TB1 | HRTIM_OUTPUT_TB2 | SLAVE_OUTPUTS;
        dc_bus_ready = 0U;
        Slave_Stop(0U);
        QPR_ControlReset(&qpr_control);
        QPR_ControlReset(&slave_qpr_control);
        modulation = 0.0f;
    }
    else if (closed_loop != 0U)
    {
        /* 反馈必须用标定后的物理 V/A，不能用 ADC 端的差分电压。 */
        modulation = QPR_ControlStep(&qpr_control, arm_sin_f32(spwm_phase_rad),
                                     voltage_reference_peak_v, true_voltage,
                                     true_current, dc_bus_voltage_v);
    }
    else
    {
        /* 开环：参考正弦直接换算调制度，不用电压/电流反馈修正。 */
        modulation = QPR_ControlOpenLoopStep(&qpr_control, arm_sin_f32(spwm_phase_rad),
                                             voltage_reference_peak_v, dc_bus_voltage_v);
    }
    if (qpr_control.fault_flags != QPR_FAULT_NONE)
    {
        Error_Handler();
    }
    HRTIM_SetModulation(modulation);
    if ((dc_bus_voltage_v >= DC_BUS_MIN_CONTROL_V) && (dc_bus_ready == 0U))
    {
        /* 初次启动/恢复：先装载当前的零起步比较值，再打开主机输出。 */
        if (HAL_HRTIM_SoftwareUpdate(&hhrtim1, HRTIM_TIMERUPDATE_A | HRTIM_TIMERUPDATE_B) != HAL_OK)
        { Error_Handler(); return; }
        if (HAL_HRTIM_WaveformOutputStart(&hhrtim1, HRTIM_OUTPUT_TA1 | HRTIM_OUTPUT_TA2 |
                                         HRTIM_OUTPUT_TB1 | HRTIM_OUTPUT_TB2) != HAL_OK)
        { Error_Handler(); return; }
        dc_bus_ready = 1U;
    }
    /* 两种模式均连续推进相位；幅值斜坡由控制函数共用。 */
    spwm_phase_rad += phase_step_rad;
    if (spwm_phase_rad >= 2.0f * PI) spwm_phase_rad -= 2.0f * PI;
    voltage_reference_v = qpr_control.reference_v;
    spwm_update_count++;

    Slave_ControlUpdate(); /* 本拍主从电流/母线已齐，固定主机先、从机后。 */

    /* ADC ISR 只计算控制和准备遥测；阻塞式串口发送仍在主循环。 */
#if VOFA_OUTPUT_ENABLE
    VOFA_AccumulateVoltageRms(closed_loop);
    if (VOFA_MEAN_OUTPUT_ENABLE != 0U)
    {
        VOFA_AccumulateMean(closed_loop);
    }
    else
    {
        adc_sample_div_count++;
        if (adc_sample_div_count >= VOFA_SAMPLE_DIV)
        {
            adc_sample_div_count = 0U;
            if (vofa_frame_ready != 0U)
            {
                vofa_overwrite_count++;
            }
            vofa_ch1 = voltage_reference_v;  /* CH1：参考电压，V */
            vofa_ch2 = true_voltage;         /* CH2：输出电压，V */
            vofa_ch3 = qpr_control.current_reference_a;  /* CH3：误差DC补偿后虚拟阻抗电流参考，A */
            vofa_ch4 = true_current;         /* CH4：滤波电感电流，A */
            vofa_ch5 = qpr_control.qpr_correction_v;  /* CH5：限幅后QPR输出（校正量），V */
            /* CH6/CH7来自与主机同一触发的ADC3/4快照。 */
            vofa_ch6 = true_aux_current;             /* CH6：辅助电感电流，A */
            vofa_ch7 = dc_bus_voltage_v;             /* CH7：实测直流母线电压，V */
            vofa_ch8 = output_voltage_rms_v;         /* CH8：输出电压一周期有效值，V */

            vofa_frame_ready = 1U;
        }
    }
#endif
}

void HAL_ADC_ErrorCallback(ADC_HandleTypeDef *hadc)
{
    if ((hadc->Instance == ADC3) || (hadc->Instance == ADC4)) adc4_error_count++;
    if ((hadc->Instance == ADC1) || (hadc->Instance == ADC2) ||
        (hadc->Instance == ADC3) || (hadc->Instance == ADC4))
    {
        /* 母线和反馈均参与控制，任一组ADC/DMA错误都关断全部输出。 */
        Error_Handler();
    }
}
/* USER CODE END 4 */

void Error_Handler(void)
{
  /* USER CODE BEGIN Error_Handler_Debug */
  /* 直接写输出禁用寄存器，避免 ISR 中等待 HAL 锁；初始化早期也可调用。 */
  if (hhrtim1.Instance != NULL)
  {
      hhrtim1.Instance->sCommonRegs.ODISR = HRTIM_OUTPUT_TA1 | HRTIM_OUTPUT_TA2 |
                                          HRTIM_OUTPUT_TB1 | HRTIM_OUTPUT_TB2 | SLAVE_OUTPUTS;
  }
  /* User can add his own implementation to report the HAL error return state */
  __disable_irq();
  while (1)
  {
  }
  /* USER CODE END Error_Handler_Debug */
}
